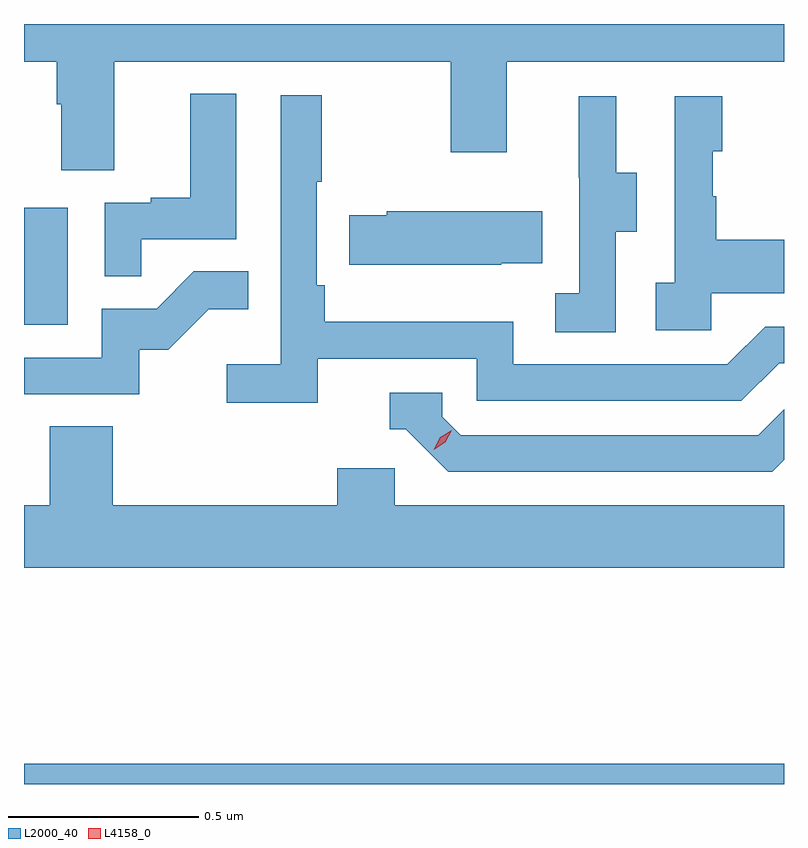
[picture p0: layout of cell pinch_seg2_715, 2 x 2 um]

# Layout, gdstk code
import gdstk
lib = gdstk.Library(unit=1e-6, precision=1e-09)
def R(c, l, rs):  # rectangles x0, y0, x1, y1
    for r in rs: c.add(gdstk.rectangle(r[:2], r[2:], *l))
def P(c, l, *ps):  # polygons
    for p in ps: c.add(gdstk.Polygon(p, *l))
L2000_40 = (2000, 40)
L4158_0 = (4158, 0)

pinch_seg2_715 = lib.new_cell('pinch_seg2_715')
R(pinch_seg2_715, L2000_40, [(1107.315,588.459,1109.315,588.512), (1107.315,589.668,1107.43,589.975)])
P(pinch_seg2_715, L2000_40, [(1107.553,590.36),(1108.438,590.36),(1108.438,590.121),(1108.585,590.121),(1108.585,590.36),(1109.315,590.36),(1109.315,590.459),(1107.315,590.459),(1107.315,590.36),(1107.401,590.36),(1107.401,590.248),(1107.413,590.248),(1107.413,590.074),(1107.553,590.074)],
  [(1107.623,589.893),(1107.874,589.893),(1107.874,590.275),(1107.752,590.275),(1107.752,590.002),(1107.649,590.002),(1107.649,589.989),(1107.528,589.989),(1107.528,589.795),(1107.623,589.795)],
  [(1108.088,589.578),(1108.506,589.578),(1108.506,589.467),(1109.203,589.467),(1109.302,589.566),(1109.315,589.566),(1109.315,589.662),(1109.265,589.662),(1109.166,589.563),(1108.602,589.563),(1108.602,589.675),(1108.106,589.675),(1108.106,589.771),(1108.086,589.771),(1108.086,590.044),(1108.099,590.044),(1108.099,590.272),(1107.99,590.272),(1107.99,589.564),(1107.849,589.564),(1107.849,589.462),(1108.088,589.462)],
  [(1109.124,589.751),(1109.315,589.751),(1109.315,589.891),(1109.137,589.891),(1109.137,590.006),(1109.127,590.006),(1109.127,590.124),(1109.152,590.124),(1109.152,590.269),(1109.028,590.269),(1109.028,589.778),(1108.977,589.778),(1108.977,589.653),(1109.124,589.653)],
  [(1108.872,589.912),(1108.927,589.912),(1108.927,590.067),(1108.873,590.067),(1108.873,590.269),(1108.775,590.269),(1108.775,590.055),(1108.776,590.055),(1108.776,589.751),(1108.713,589.751),(1108.713,589.648),(1108.872,589.648)],
  [(1108.571,589.829),(1108.679,589.829),(1108.679,589.966),(1108.269,589.966),(1108.269,589.956),(1108.171,589.956),(1108.171,589.826),(1108.571,589.826)],
  [(1107.618,589.602),(1107.694,589.602),(1107.801,589.709),(1107.905,589.709),(1107.905,589.808),(1107.762,589.808),(1107.664,589.71),(1107.519,589.71),(1107.519,589.581),(1107.315,589.581),(1107.315,589.485),(1107.618,589.485)],
  [(1109.315,589.312),(1109.315,589.445),(1109.247,589.377),(1108.464,589.377),(1108.416,589.425),(1108.416,589.488),(1108.277,589.488),(1108.277,589.392),(1108.32,589.392),(1108.431,589.281),(1109.284,589.281)],
  [(1109.315,589.192),(1108.29,589.192),(1108.29,589.29),(1108.139,589.29),(1108.139,589.192),(1107.548,589.192),(1107.548,589.4),(1107.383,589.4),(1107.383,589.192),(1107.315,589.192),(1107.315,589.028),(1109.315,589.028)])
P(pinch_seg2_715, L4158_0, [(1108.393,589.339),(1108.393,589.339),(1108.41,589.371),(1108.441,589.39),(1108.441,589.39),(1108.441,589.39),(1108.424,589.358),(1108.393,589.339)])

lib.write_gds('pinch_seg2_715.gds')
